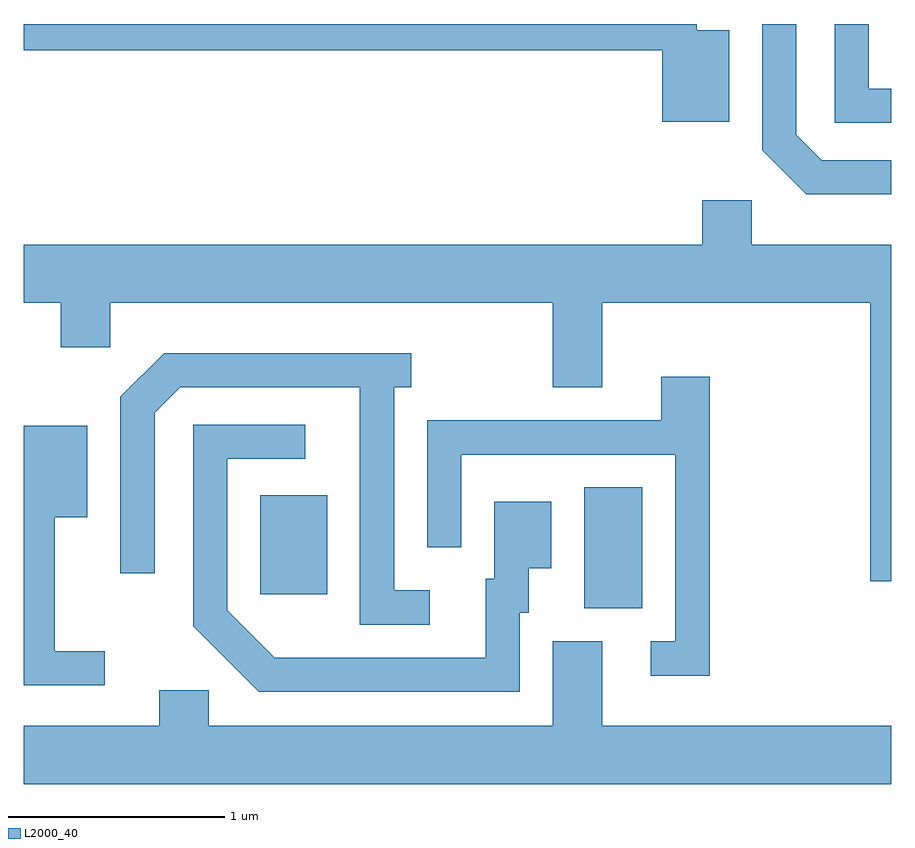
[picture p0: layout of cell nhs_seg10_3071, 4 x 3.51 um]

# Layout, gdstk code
import gdstk
lib = gdstk.Library(unit=1e-6, precision=1e-09)
def R(c, l, rs):  # rectangles x0, y0, x1, y1
    for r in rs: c.add(gdstk.rectangle(r[:2], r[2:], *l))
def P(c, l, *ps):  # polygons
    for p in ps: c.add(gdstk.Polygon(p, *l))
L2000_40 = (2000, 40)

nhs_seg10_3071 = lib.new_cell('nhs_seg10_3071')
R(nhs_seg10_3071, L2000_40, [(278.196,2125.826,278.464,2126.384), (276.701,2125.891,277.009,2126.349)])
P(nhs_seg10_3071, L2000_40, [(279.611,2127.894),(279.292,2127.894),(279.174,2128.012),(279.174,2128.522),(279.016,2128.522),(279.016,2127.939),(279.219,2127.736),(279.611,2127.736)],
  [(279.611,2128.224),(279.509,2128.224),(279.509,2128.522),(279.351,2128.522),(279.351,2128.066),(279.611,2128.066)],
  [(278.864,2128.494),(278.714,2128.494),(278.714,2128.522),(275.611,2128.522),(275.611,2128.401),(278.556,2128.401),(278.556,2128.071),(278.864,2128.071)],
  [(279.611,2127.504),(278.969,2127.504),(278.969,2127.709),(278.741,2127.709),(278.741,2127.504),(275.611,2127.504),(275.611,2127.236),(275.781,2127.236),(275.781,2127.031),(276.009,2127.031),(276.009,2127.236),(278.051,2127.236),(278.051,2126.846),(278.279,2126.846),(278.279,2127.236),(279.516,2127.236),(279.516,2125.951),(279.611,2125.951)],
  [(277.483,2125.909),(277.319,2125.909),(277.319,2126.846),(277.398,2126.846),(277.398,2127.004),(276.259,2127.004),(276.056,2126.802),(276.056,2125.988),(276.214,2125.988),(276.214,2126.729),(276.332,2126.846),(277.161,2126.846),(277.161,2125.751),(277.483,2125.751)],
  [(278.774,2126.894),(278.551,2126.894),(278.551,2126.694),(277.471,2126.694),(277.471,2126.108),(277.629,2126.108),(277.629,2126.536),(278.616,2126.536),(278.616,2125.674),(278.503,2125.674),(278.503,2125.516),(278.774,2125.516)],
  [(277.899,2125.806),(277.939,2125.806),(277.939,2126.011),(278.044,2126.011),(278.044,2126.319),(277.781,2126.319),(277.781,2125.964),(277.741,2125.964),(277.741,2125.599),(276.767,2125.599),(276.549,2125.817),(276.549,2126.516),(276.908,2126.516),(276.908,2126.674),(276.391,2126.674),(276.391,2125.744),(276.694,2125.441),(277.899,2125.441)],
  [(275.983,2125.629),(275.754,2125.629),(275.754,2126.246),(275.904,2126.246),(275.904,2126.669),(275.611,2126.669),(275.611,2125.471),(275.983,2125.471)],
  [(279.611,2125.284),(278.279,2125.284),(278.279,2125.674),(278.051,2125.674),(278.051,2125.284),(276.464,2125.284),(276.464,2125.449),(276.236,2125.449),(276.236,2125.284),(275.611,2125.284),(275.611,2125.016),(279.611,2125.016)])

lib.write_gds('nhs_seg10_3071.gds')
